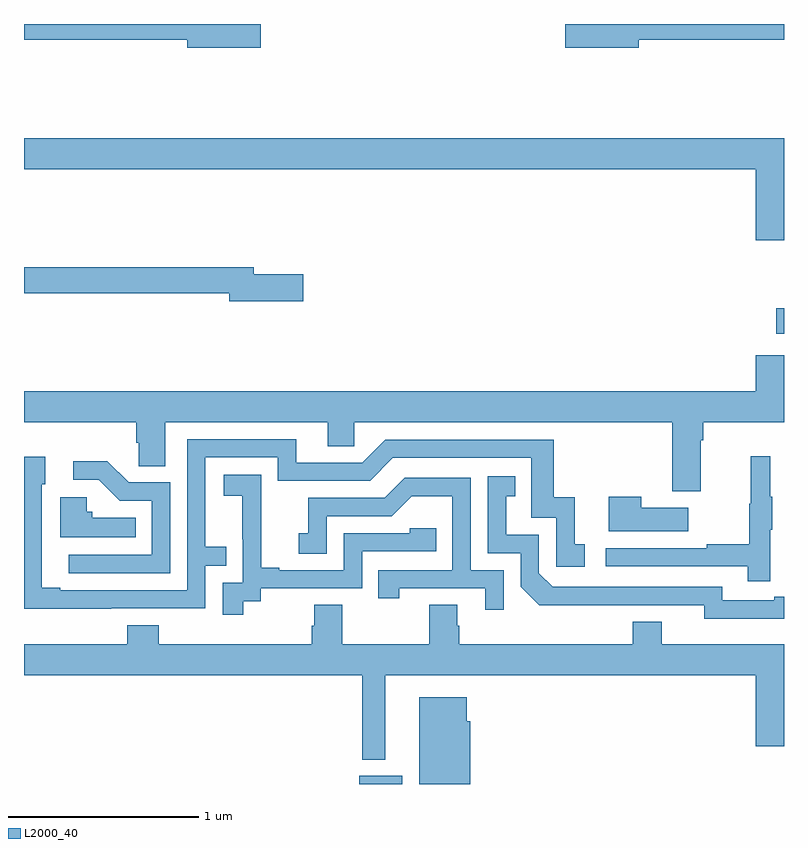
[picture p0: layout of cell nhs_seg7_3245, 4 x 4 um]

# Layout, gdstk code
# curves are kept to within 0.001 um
import gdstk
lib = gdstk.Library(unit=1e-6, precision=1e-09)
def R(c, l, rs):  # rectangles x0, y0, x1, y1
    for r in rs: c.add(gdstk.rectangle(r[:2], r[2:], *l))
def P(c, l, *ps):  # polygons
    for p in ps: c.add(gdstk.Polygon(p, *l))
L2000_40 = (2000, 40)

nhs_seg7_3245 = lib.new_cell('nhs_seg7_3245')
R(nhs_seg7_3245, L2000_40, [(318.764,1044,318.991,1044.043), (320.958,1046.369,321,1046.504)])
P(nhs_seg7_3245, L2000_40, [(318.247,1048),(317,1048),(317,1047.916),(317.858,1047.916),(317.858,1047.874),(318.247,1047.874)],
  [(320.236,1047.916),(321,1047.916),(321,1048),(319.848,1048),(319.848,1047.874),(320.236,1047.874)],
  [(321,1047.4),(317,1047.4),(317,1047.236),(320.852,1047.236),(320.852,1046.862),(321,1046.862)],
  [(318.469,1046.684),(318.208,1046.684),(318.208,1046.72),(317,1046.72),(317,1046.584),(318.08,1046.584),(318.08,1046.542),(318.469,1046.542)],
  [(320.563,1045.808),(320.576,1045.808),(320.576,1045.904),(321,1045.904),(321,1046.257),(320.852,1046.257),(320.852,1046.068),(317,1046.068),(317,1045.904),(317.591,1045.904),(317.591,1045.795),(317.604,1045.795),(317.604,1045.672),(317.743,1045.672),(317.743,1045.904),(318.599,1045.904),(318.599,1045.777),(318.738,1045.777),(318.738,1045.904),(320.411,1045.904),(320.411,1045.542),(320.563,1045.542)],
  [(317.459,1044.924),(317.955,1044.924),(317.955,1045.149),(318.065,1045.149),(318.065,1045.25),(317.955,1045.25),(317.955,1045.719),(318.336,1045.719),(318.336,1045.596),(318.822,1045.596),(318.942,1045.716),(319.671,1045.716),(319.671,1045.401),(319.8,1045.401),(319.8,1045.143),(319.951,1045.143),(319.951,1045.263),(319.898,1045.263),(319.898,1045.51),(319.787,1045.51),(319.787,1045.812),(318.9,1045.812),(318.78,1045.692),(318.433,1045.692),(318.433,1045.815),(317.859,1045.815),(317.859,1045.02),(317.191,1045.02),(317.191,1045.033),(317.094,1045.033),(317.094,1045.578),(317.113,1045.578),(317.113,1045.723),(317,1045.723),(317,1044.923)],
  [(320.927,1045.339),(320.938,1045.339),(320.938,1045.513),(320.927,1045.513),(320.927,1045.726),(320.824,1045.726),(320.824,1045.476),(320.817,1045.476),(320.817,1045.262),(320.593,1045.262),(320.593,1045.242),(320.061,1045.242),(320.061,1045.146),(320.809,1045.146),(320.809,1045.068),(320.927,1045.068)],
  [(317.769,1045.587),(317.55,1045.587),(317.437,1045.7),(317.259,1045.7),(317.259,1045.602),(317.393,1045.602),(317.504,1045.491),(317.673,1045.491),(317.673,1045.206),(317.235,1045.206),(317.235,1045.11),(317.769,1045.11)],
  [(318.154,1044.961),(318.246,1044.961),(318.246,1045.029),(318.78,1045.029),(318.78,1045.224),(319.169,1045.224),(319.169,1045.347),(319.029,1045.347),(319.029,1045.32),(318.684,1045.32),(318.684,1045.125),(318.343,1045.125),(318.343,1045.138),(318.248,1045.138),(318.248,1045.421),(318.249,1045.421),(318.249,1045.627),(318.051,1045.627),(318.051,1045.517),(318.149,1045.517),(318.149,1045.289),(318.15,1045.289),(318.15,1045.059),(318.045,1045.059),(318.045,1044.891),(318.154,1044.891)],
  [(320.948,1044.87),(321,1044.87),(321,1044.986),(320.948,1044.986),(320.948,1044.966),(320.676,1044.966),(320.676,1045.038),(319.782,1045.038),(319.71,1045.11),(319.71,1045.311),(319.537,1045.311),(319.537,1045.515),(319.586,1045.515),(319.586,1045.621),(319.44,1045.621),(319.44,1045.215),(319.614,1045.215),(319.614,1045.038),(319.712,1044.941),(320.58,1044.942),(320.58,1044.869)],
  [(319.524,1045.125),(319.35,1045.125),(319.35,1045.611),(319.004,1045.611),(318.899,1045.506),(318.496,1045.506),(318.496,1045.321),(318.447,1045.321),(318.447,1045.212),(318.594,1045.212),(318.594,1045.41),(318.936,1045.41),(319.04,1045.514),(319.254,1045.514),(319.254,1045.125),(318.865,1045.125),(318.865,1044.978),(318.976,1044.978),(318.976,1045.029),(319.427,1045.029),(319.427,1044.918),(319.524,1044.918)],
  [(320.497,1045.453),(320.249,1045.453),(320.249,1045.513),(320.078,1045.513),(320.078,1045.331),(320.497,1045.331)],
  [(317.588,1045.402),(317.358,1045.402),(317.358,1045.434),(317.331,1045.434),(317.331,1045.51),(317.192,1045.51),(317.192,1045.298),(317.588,1045.298)],
  [(318.901,1044.572),(320.852,1044.572),(320.852,1044.198),(321,1044.198),(321,1044.736),(320.356,1044.736),(320.356,1044.853),(320.204,1044.853),(320.204,1044.736),(319.292,1044.736),(319.292,1044.834),(319.279,1044.834),(319.279,1044.944),(319.132,1044.944),(319.132,1044.736),(318.675,1044.736),(318.675,1044.944),(318.527,1044.944),(318.527,1044.834),(318.515,1044.834),(318.515,1044.736),(317.708,1044.736),(317.708,1044.835),(317.543,1044.835),(317.543,1044.736),(317,1044.736),(317,1044.572),(318.78,1044.572),(318.78,1044.128),(318.901,1044.128)],
  [(319.348,1044.33),(319.33,1044.33),(319.33,1044.457),(319.079,1044.457),(319.079,1044),(319.348,1044)])

lib.write_gds('nhs_seg7_3245.gds')
